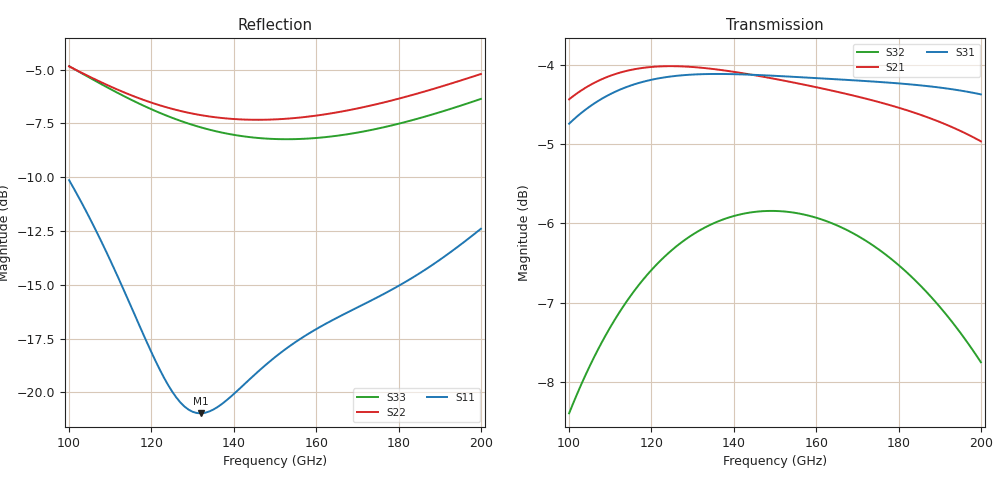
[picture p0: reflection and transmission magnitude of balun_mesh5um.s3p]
! Created with skrf 2.1.0 (http://scikit-rf.org).
# GHz S DB R 50.0
! Port[1] = P1
! Port[2] = P2
! Port[3] = P3
!freq dBS11 angS11 dBS12 angS12 dBS13 angS13
! dBS21 angS21 dBS22 angS22 dBS23 angS23
! dBS31 angS31 dBS32 angS32 dBS33 angS33
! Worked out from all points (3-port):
!   101 points, 100 GHz to 200 GHz, reference 50 ohm
!   strongest paths, dB at 100 GHz, 125 GHz, 150 GHz, 175 GHz, 200 GHz:
!     S31: -4.7, -4.1, -4.1, -4.2, -4.4
!     S21: -4.4, -4.0, -4.2, -4.5, -5.0
!     S32: -8.4, -6.3, -5.8, -6.3, -7.7
!   lowest |S11| = -21.0 dB at 132 GHz (marker M1), VSWR 1.20, Z = 41.9 + j1.67 ohm
!   |S11| at or under -10 dB: start of sweep to end of sweep
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100  -10.14 132.3  -4.43 -16.0  -4.74 159.5
     -4.43 -16.0  -4.85 60.0  -8.39 88.9
     -4.74 159.5  -8.39 88.9  -4.84 48.8
111  -14.28 127.3  -4.12 -33.3  -4.34 141.0
     -4.12 -33.3  -5.87 50.4  -7.22 71.6
     -4.34 141.0  -7.22 71.6  -6.00 37.2
124  -19.64 143.4  -4.02 -52.0  -4.15 121.0
     -4.02 -52.0  -6.77 40.8  -6.38 52.5
     -4.15 121.0  -6.38 52.5  -7.16 25.6
128  -20.65 154.9  -4.02 -57.4  -4.13 115.2
     -4.02 -57.4  -6.96 38.1  -6.21 47.0
     -4.13 115.2  -6.21 47.0  -7.45 22.3
132  -20.97 167.2  -4.04 -62.6  -4.12 109.6
     -4.04 -62.6  -7.12 35.3  -6.08 41.6
     -4.12 109.6  -6.08 41.6  -7.68 19.2
150  -18.36 -163.0  -4.18 -84.9  -4.14 85.7
     -4.18 -84.9  -7.31 22.4  -5.84 18.5
     -4.14 85.7  -5.84 18.5  -8.23 5.7
161  -16.95 -158.2  -4.29 -97.9  -4.17 71.9
     -4.29 -97.9  -7.11 13.7  -5.94 5.2
     -4.17 71.9  -5.94 5.2  -8.16 -2.9
173  -15.76 -154.6  -4.44 -111.9  -4.21 57.0
     -4.44 -111.9  -6.68 3.3  -6.25 -9.0
     -4.21 57.0  -6.25 -9.0  -7.82 -12.8
187  -14.23 -151.2  -4.66 -128.4  -4.27 39.7
     -4.66 -128.4  -5.98 -9.9  -6.88 -25.4
     -4.27 39.7  -6.88 -25.4  -7.15 -25.2
200  -12.40 -150.8  -4.96 -144.2  -4.37 23.1
     -4.96 -144.2  -5.21 -23.0  -7.75 -40.7
     -4.37 23.1  -7.75 -40.7  -6.36 -37.5
